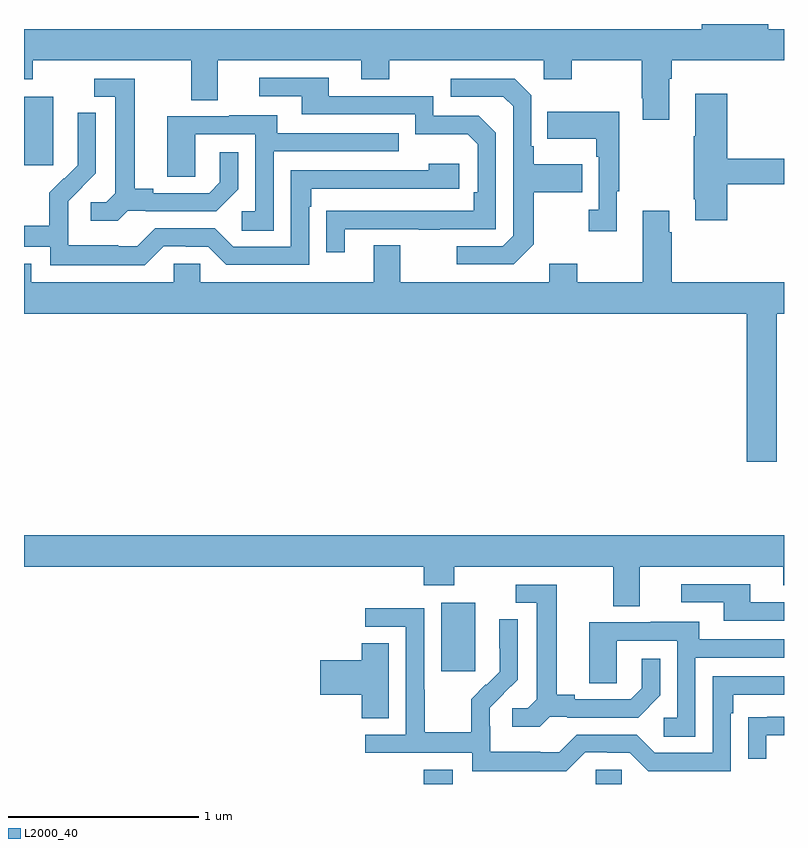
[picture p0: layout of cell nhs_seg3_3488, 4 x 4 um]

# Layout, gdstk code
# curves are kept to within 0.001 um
import gdstk
lib = gdstk.Library(unit=1e-6, precision=1e-09)
def R(c, l, rs):  # rectangles x0, y0, x1, y1
    for r in rs: c.add(gdstk.rectangle(r[:2], r[2:], *l))
def P(c, l, *ps):  # polygons
    for p in ps: c.add(gdstk.Polygon(p, *l))
L2000_40 = (2000, 40)

nhs_seg3_3488 = lib.new_cell('nhs_seg3_3488')
R(nhs_seg3_3488, L2000_40, [(293.105,738.4,293.257,738.475), (294.009,738.4,294.147,738.474), (293.195,738.993,293.374,739.354), (291,741.657,291.154,742.018)])
P(nhs_seg3_3488, L2000_40, [(294.397,742.112),(294.41,742.112),(294.41,742.208),(295,742.208),(295,742.372),(294.916,742.372),(294.916,742.4),(294.566,742.4),(294.566,742.372),(291,742.372),(291,742.109),(291.045,742.109),(291.045,742.208),(291.881,742.208),(291.881,742),(292.021,742),(292.021,742.208),(292.775,742.208),(292.775,742.109),(292.923,742.109),(292.923,742.208),(293.736,742.208),(293.736,742.109),(293.883,742.109),(293.883,742.208),(294.25,742.208),(294.25,742.009),(294.257,742.009),(294.257,741.897),(294.397,741.897)],
  [(292.687,741.321),(293.077,741.321),(293.077,741.316),(293.189,741.316),(293.189,741.321),(293.484,741.321),(293.484,741.828),(293.394,741.918),(293.154,741.918),(293.154,742.02),(292.603,742.02),(292.603,742.116),(292.239,742.116),(292.239,742.02),(292.463,742.02),(292.463,741.924),(293.058,741.924),(293.058,741.821),(293.335,741.821),(293.388,741.768),(293.388,741.514),(293.368,741.514),(293.368,741.417),(292.591,741.416),(292.591,741.198),(292.687,741.198)],
  [(293.683,741.241),(293.683,741.514),(293.939,741.514),(293.939,741.661),(293.683,741.661),(293.683,741.757),(293.67,741.757),(293.67,742.026),(293.583,742.113),(293.247,742.113),(293.247,742.017),(293.523,742.017),(293.574,741.966),(293.574,741.285),(293.52,741.231),(293.277,741.231),(293.277,741.135),(293.577,741.135)],
  [(291.546,741.417),(291.64,741.417),(291.64,741.414),(292.012,741.414),(292.128,741.53),(292.128,741.724),(292.031,741.724),(292.031,741.567),(291.974,741.51),(291.679,741.51),(291.679,741.533),(291.583,741.533),(291.583,742.113),(291.369,742.113),(291.369,742.017),(291.479,742.017),(291.479,741.509),(291.432,741.462),(291.351,741.462),(291.351,741.365),(291.494,741.365)],
  [(294.701,741.556),(295,741.556),(295,741.692),(294.701,741.692),(294.701,742.033),(294.533,742.033),(294.533,741.809),(294.526,741.809),(294.526,741.478),(294.533,741.478),(294.533,741.366),(294.701,741.366)],
  [(294.121,741.521),(294.133,741.521),(294.133,741.937),(293.755,741.937),(293.755,741.797),(294.012,741.797),(294.012,741.701),(294.024,741.701),(294.024,741.422),(293.973,741.422),(293.973,741.309),(294.121,741.309)],
  [(291.735,741.231),(291.851,741.231),(291.851,741.228),(291.969,741.228),(292.065,741.132),(292.5,741.132),(292.5,741.437),(292.513,741.437),(292.513,741.534),(293.29,741.534),(293.29,741.664),(293.129,741.664),(293.129,741.63),(292.404,741.63),(292.404,741.228),(292.101,741.228),(292.005,741.324),(291.69,741.324),(291.597,741.231),(291.497,741.231),(291.497,741.235),(291.234,741.235),(291.234,741.369),(291.232,741.369),(291.232,741.466),(291.378,741.614),(291.378,741.932),(291.282,741.932),(291.282,741.778),(291.284,741.778),(291.284,741.656),(291.213,741.585),(291.21,741.588),(291.133,741.511),(291.133,741.337),(291,741.337),(291,741.228),(291.138,741.228),(291.138,741.131),(291.635,741.131)],
  [(292.314,741.729),(292.973,741.729),(292.973,741.825),(292.333,741.825),(292.333,741.919),(292.079,741.919),(292.079,741.915),(291.755,741.915),(291.755,741.595),(291.9,741.595),(291.9,741.819),(292.218,741.819),(292.218,741.414),(292.146,741.414),(292.146,741.313),(292.314,741.313)],
  [(294.803,740.097),(294.963,740.097),(294.963,740.876),(295,740.876),(295,741.04),(294.41,741.04),(294.41,741.305),(294.397,741.305),(294.397,741.418),(294.257,741.418),(294.257,741.04),(293.913,741.04),(293.913,741.139),(293.765,741.139),(293.765,741.04),(292.981,741.04),(292.981,741.235),(292.841,741.235),(292.841,741.04),(291.927,741.04),(291.927,741.138),(291.789,741.138),(291.789,741.04),(291.037,741.04),(291.037,741.139),(291,741.139),(291,740.876),(294.803,740.876)],
  [(294.241,739.544),(294.995,739.544),(294.995,739.445),(295,739.445),(295,739.708),(291,739.708),(291,739.544),(293.105,739.544),(293.105,739.445),(293.265,739.445),(293.265,739.544),(294.101,739.544),(294.101,739.336),(294.241,739.336)],
  [(295,739.356),(294.823,739.356),(294.823,739.452),(294.459,739.452),(294.459,739.356),(294.683,739.356),(294.683,739.26),(295,739.26)],
  [(293.766,738.753),(293.86,738.753),(293.86,738.75),(294.232,738.75),(294.348,738.866),(294.348,739.06),(294.251,739.06),(294.251,738.903),(294.194,738.846),(293.899,738.846),(293.899,738.869),(293.803,738.869),(293.803,739.449),(293.589,739.449),(293.589,739.353),(293.699,739.353),(293.699,738.845),(293.652,738.798),(293.571,738.798),(293.571,738.701),(293.714,738.701)],
  [(293.955,738.567),(294.071,738.567),(294.071,738.564),(294.189,738.564),(294.285,738.468),(294.72,738.468),(294.72,738.773),(294.733,738.773),(294.733,738.87),(295,738.87),(295,738.966),(294.624,738.966),(294.624,738.564),(294.321,738.564),(294.225,738.66),(293.91,738.66),(293.817,738.567),(293.717,738.567),(293.717,738.571),(293.454,738.571),(293.454,738.705),(293.452,738.705),(293.452,738.802),(293.598,738.95),(293.598,739.268),(293.502,739.268),(293.502,739.114),(293.504,739.114),(293.504,738.992),(293.433,738.921),(293.43,738.924),(293.353,738.847),(293.353,738.673),(293.109,738.673),(293.109,738.896),(293.106,738.896),(293.106,739.326),(292.797,739.326),(292.797,739.227),(293.01,739.227),(293.01,738.66),(292.797,738.66),(292.797,738.564),(293.358,738.564),(293.358,738.467),(293.855,738.467)],
  [(294.534,739.065),(295,739.065),(295,739.161),(294.553,739.161),(294.553,739.255),(294.299,739.255),(294.299,739.251),(293.975,739.251),(293.975,738.931),(294.12,738.931),(294.12,739.155),(294.438,739.155),(294.438,738.75),(294.366,738.75),(294.366,738.649),(294.534,738.649)],
  [(292.921,739.142),(292.778,739.142),(292.778,739.052),(292.56,739.052),(292.56,738.869),(292.778,738.869),(292.778,738.745),(292.921,738.745)],
  [(294.907,738.657),(295,738.657),(295,738.753),(294.913,738.753),(294.913,738.752),(294.811,738.752),(294.811,738.534),(294.907,738.534)])

lib.write_gds('nhs_seg3_3488.gds')
